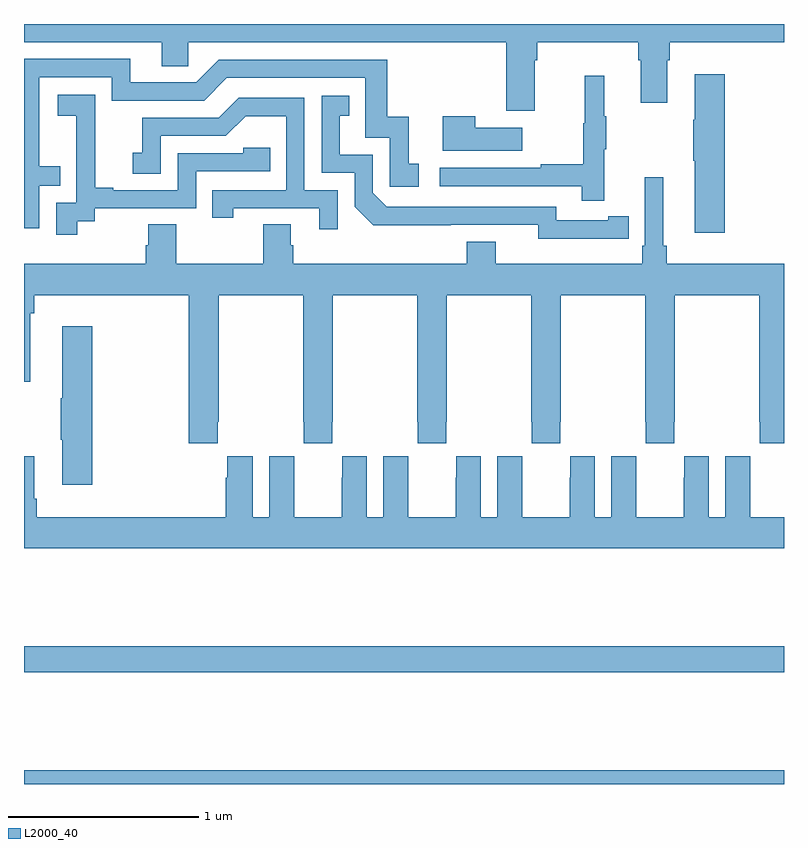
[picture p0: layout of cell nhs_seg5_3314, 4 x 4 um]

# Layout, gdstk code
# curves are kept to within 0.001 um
import gdstk
lib = gdstk.Library(unit=1e-6, precision=1e-09)
def R(c, l, rs):  # rectangles x0, y0, x1, y1
    for r in rs: c.add(gdstk.rectangle(r[:2], r[2:], *l))
def P(c, l, *ps):  # polygons
    for p in ps: c.add(gdstk.Polygon(p, *l))
L2000_40 = (2000, 40)

nhs_seg5_3314 = lib.new_cell('nhs_seg5_3314')
R(nhs_seg5_3314, L2000_40, [(303,908.799,307,908.872), (303,909.388,307,909.524)])
P(nhs_seg5_3314, L2000_40, [(305.689,912.608),(305.702,912.608),(305.702,912.704),(306.233,912.704),(306.233,912.608),(306.245,912.608),(306.245,912.384),(306.385,912.384),(306.385,912.608),(306.398,912.608),(306.398,912.704),(307,912.704),(307,912.799),(303,912.799),(303,912.704),(303.725,912.704),(303.725,912.577),(303.864,912.577),(303.864,912.704),(305.537,912.704),(305.537,912.342),(305.689,912.342)],
  [(303.081,911.949),(303.191,911.949),(303.191,912.05),(303.081,912.05),(303.081,912.519),(303.462,912.519),(303.462,912.396),(303.948,912.396),(304.068,912.516),(304.797,912.516),(304.797,912.201),(304.926,912.201),(304.926,911.943),(305.077,911.943),(305.077,912.063),(305.024,912.063),(305.024,912.31),(304.913,912.31),(304.913,912.612),(304.026,912.612),(303.906,912.492),(303.559,912.492),(303.559,912.615),(303,912.615),(303,911.724),(303.081,911.724)],
  [(306.689,912.535),(306.53,912.535),(306.53,912.296),(306.523,912.296),(306.523,912.079),(306.53,912.079),(306.53,911.7),(306.689,911.7)],
  [(306.053,912.139),(306.064,912.139),(306.064,912.313),(306.053,912.313),(306.053,912.526),(305.95,912.526),(305.95,912.276),(305.943,912.276),(305.943,912.062),(305.719,912.062),(305.719,912.042),(305.187,912.042),(305.187,911.946),(305.935,911.946),(305.935,911.868),(306.053,911.868)],
  [(303.28,911.761),(303.372,911.761),(303.372,911.829),(303.906,911.829),(303.906,912.024),(304.295,912.024),(304.295,912.147),(304.155,912.147),(304.155,912.12),(303.81,912.12),(303.81,911.925),(303.469,911.925),(303.469,911.938),(303.374,911.938),(303.374,912.221),(303.375,912.221),(303.375,912.427),(303.177,912.427),(303.177,912.317),(303.275,912.317),(303.275,912.089),(303.276,912.089),(303.276,911.859),(303.171,911.859),(303.171,911.691),(303.28,911.691)],
  [(306.074,911.67),(306.182,911.67),(306.182,911.786),(306.074,911.786),(306.074,911.766),(305.802,911.766),(305.802,911.838),(304.908,911.838),(304.836,911.91),(304.836,912.111),(304.663,912.111),(304.663,912.315),(304.712,912.315),(304.712,912.421),(304.566,912.421),(304.566,912.015),(304.74,912.015),(304.74,911.838),(304.838,911.741),(305.706,911.742),(305.706,911.669)],
  [(304.65,911.925),(304.476,911.925),(304.476,912.411),(304.13,912.411),(304.025,912.306),(303.622,912.306),(303.622,912.121),(303.573,912.121),(303.573,912.012),(303.72,912.012),(303.72,912.21),(304.062,912.21),(304.166,912.314),(304.38,912.314),(304.38,911.925),(303.991,911.925),(303.991,911.778),(304.102,911.778),(304.102,911.829),(304.553,911.829),(304.553,911.718),(304.65,911.718)],
  [(305.623,912.253),(305.375,912.253),(305.375,912.313),(305.204,912.313),(305.204,912.131),(305.623,912.131)],
  [(304.019,910.705),(304.026,910.705),(304.026,911.372),(304.471,911.372),(304.471,910.705),(304.473,910.705),(304.473,910.593),(304.623,910.593),(304.623,910.705),(304.626,910.705),(304.626,911.372),(305.071,911.372),(305.071,910.705),(305.073,910.705),(305.073,910.593),(305.223,910.593),(305.223,910.705),(305.226,910.705),(305.226,911.372),(305.671,911.372),(305.671,910.705),(305.673,910.705),(305.673,910.593),(305.823,910.593),(305.823,910.705),(305.826,910.705),(305.826,911.372),(306.271,911.372),(306.271,910.705),(306.273,910.705),(306.273,910.593),(306.423,910.593),(306.423,910.705),(306.426,910.705),(306.426,911.372),(306.871,911.372),(306.871,910.705),(306.873,910.705),(306.873,910.593),(307,910.593),(307,911.536),(306.383,911.536),(306.383,911.632),(306.364,911.632),(306.364,911.992),(306.267,911.992),(306.267,911.632),(306.254,911.632),(306.254,911.536),(305.482,911.536),(305.482,911.653),(305.33,911.653),(305.33,911.536),(304.418,911.536),(304.418,911.634),(304.405,911.634),(304.405,911.744),(304.258,911.744),(304.258,911.536),(303.801,911.536),(303.801,911.744),(303.653,911.744),(303.653,911.634),(303.641,911.634),(303.641,911.536),(303,911.536),(303,910.917),(303.034,910.917),(303.034,911.276),(303.053,911.276),(303.053,911.372),(303.866,911.372),(303.866,910.593),(304.019,910.593)],
  [(303.359,911.209),(303.2,911.209),(303.2,910.829),(303.193,910.829),(303.193,910.612),(303.2,910.612),(303.2,910.374),(303.359,910.374)],
  [(307,910.204),(306.823,910.204),(306.823,910.412),(306.822,910.412),(306.822,910.525),(306.692,910.525),(306.692,910.204),(306.604,910.204),(306.604,910.525),(306.474,910.525),(306.474,910.412),(306.473,910.412),(306.473,910.204),(306.223,910.204),(306.223,910.412),(306.222,910.412),(306.222,910.525),(306.092,910.525),(306.092,910.204),(306.004,910.204),(306.004,910.525),(305.874,910.525),(305.874,910.412),(305.873,910.412),(305.873,910.204),(305.623,910.204),(305.623,910.412),(305.622,910.412),(305.622,910.525),(305.492,910.525),(305.492,910.204),(305.404,910.204),(305.404,910.525),(305.274,910.525),(305.274,910.412),(305.273,910.412),(305.273,910.204),(305.023,910.204),(305.023,910.412),(305.022,910.412),(305.022,910.525),(304.892,910.525),(304.892,910.204),(304.804,910.204),(304.804,910.525),(304.674,910.525),(304.674,910.412),(304.673,910.412),(304.673,910.204),(304.423,910.204),(304.423,910.412),(304.422,910.412),(304.422,910.525),(304.292,910.525),(304.292,910.204),(304.204,910.204),(304.204,910.525),(304.07,910.525),(304.07,910.412),(304.061,910.412),(304.061,910.204),(303.068,910.204),(303.068,910.3),(303.055,910.3),(303.055,910.525),(303,910.525),(303,910.04),(307,910.04)])

lib.write_gds('nhs_seg5_3314.gds')
